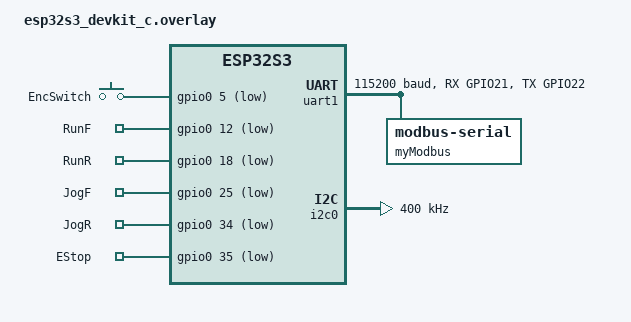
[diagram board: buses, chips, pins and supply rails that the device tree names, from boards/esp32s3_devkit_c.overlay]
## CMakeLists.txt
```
# SPDX-License-Identifier: Apache-2.0

cmake_minimum_required(VERSION 3.20.0)

message(STATUS "ZEPHYER_BASE: $ENV{ZEPHYR_BASE}")

set(CMAKE_EXPORT_COMPILE_COMMANDS ON)

find_package(Zephyr REQUIRED HINTS $ENV{ZEPHYR_BASE})
project(XP200_RTU_HID)

include_directories(${CMAKE_CURRENT_SOURCE_DIR}/src)
target_sources(app PRIVATE src/main.cpp src/shell.cpp src/ui/button.cpp src/ui/buttonbus.cpp src/ui/buttons.cpp src/machine/machine.cpp src/modbus/modbus.cpp)
```

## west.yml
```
# Example T2 west.yml, using manifest imports.
manifest:
  remotes:
    - name: zephyrproject-rtos
      url-base: https://github.com/zephyrproject-rtos
  projects:
    - name: zephyr
      remote: zephyrproject-rtos
      revision: v4.2.0
      # import: true
      import:
        name-allowlist:
          - hal_espressif
          - cmsis
          - hal_rpi_pico
          - hal_stm32
  self:
    path: local
```

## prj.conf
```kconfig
CONFIG_OUTPUT_PRINT_MEMORY_USAGE=y
CONFIG_SYS_CLOCK_HW_CYCLES_PER_SEC=1000000
CONFIG_DYNAMIC_THREAD=y
CONFIG_DYNAMIC_OBJECTS=y
CONFIG_DYNAMIC_THREAD_PREFER_POOL=y
CONFIG_DYNAMIC_THREAD_STACK_SIZE=4096
CONFIG_DYNAMIC_THREAD_POOL_SIZE=6
CONFIG_HEAP_MEM_POOL_SIZE=16384
# CONFIG_FPU=y
CONFIG_GPIO=y
CONFIG_LOG=y
CONFIG_CONSOLE=y
# CONFIG_UART_CONSOLE=y
CONFIG_REBOOT=y
# CONFIG_FPU_SHARING=y
CONFIG_FLASH=y
# CONFIG_DISPLAY=y
# CONFIG_SDL_DISPLAY_DEFAULT_PIXEL_FORMAT_MONO01=y
# CONFIG_FLASH_SHELL=y
# CONFIG_FLASH_SHELL_TEST_COMMANDS=y
# CONFIG_GPIO_SHELL=y
# CONFIG_UART_SHELL=y
# CONFIG_SHELL=y
CONFIG_CPP=y
CONFIG_STD_CPP20=y
CONFIG_REQUIRES_FULL_LIBCPP=y
CONFIG_CPP_EXCEPTIONS=y
CONFIG_CPP_RTTI=y
CONFIG_STD_C17=y
CONFIG_POSIX_API=y
# CONFIG_POSIX_C_LIB_EXT=y
# CONFIG_GETOPT_LONG=y
# CONFIG_SHELL_GETOPT=y
CONFIG_SERIAL=y
CONFIG_UART_USE_RUNTIME_CONFIGURE=y
# CONFIG_LOG_FRONTEND=y
# CONFIG_LOG_THREAD_ID_PREFIX=y
# CONFIG_LOG_INFO_COLOR_GREEN=y
# CONFIG_LOG_DBG_COLOR_BLUE=y
# CONFIG_LOG_BACKEND_UART=y
# CONFIG_LOG_CMDS=y
CONFIG_MODBUS=y
CONFIG_MODBUS_ROLE_CLIENT=y
CONFIG_MODBUS_SERIAL=y
# CONFIG_NETWORKING=y
# CONFIG_NET_L2_WIFI_SHELL=y
# CONFIG_NET_IPV4=y
# CONFIG_NET_SHELL=y
# CONFIG_NET_DHCPV4=y
# CONFIG_NET_DHCPV6=y
# CONFIG_NET_CONNECTION_MANAGER=y
CONFIG_SETTINGS=y
CONFIG_SETTINGS_SHELL=y
CONFIG_SHELL=y

CONFIG_LOG_MODE_MINIMAL=y
CONFIG_ASSERT=y
CONFIG_BOOT_BANNER=n
CONFIG_MAIN_THREAD_PRIORITY=3
CONFIG_TIMESLICE_SIZE=0
CONFIG_ZBUS=y
CONFIG_ZBUS_LOG_LEVEL_INF=y
CONFIG_ZBUS_CHANNEL_NAME=y
CONFIG_ZBUS_OBSERVER_NAME=y
CONFIG_ZBUS_MSG_SUBSCRIBER=y
CONFIG_HEAP_MEM_POOL_SIZE=4096
CONFIG_ZBUS_MSG_SUBSCRIBER_NET_BUF_POOL_SIZE=32

CONFIG_USERSPACE=y
CONFIG_SMP=y
CONFIG_USE_SWITCH=y
CONFIG_PRINTK=y

# CONFIG_NETWORKING=y
# CONFIG_NET_IPV6=y
# CONFIG_NET_IPV4=y
# CONFIG_NET_ARP=y
# CONFIG_NET_UDP=y
# CONFIG_NET_TCP=y
# CONFIG_NET_L2_VIRTUAL=y
# CONFIG_NET_DHCPV4=n
# CONFIG_NET_CONNECTION_MANAGER=y
# CONFIG_NET_IF_UNICAST_IPV6_ADDR_COUNT=3
# CONFIG_NET_IF_MCAST_IPV6_ADDR_COUNT=3
# CONFIG_NET_MAX_CONTEXTS=10
# CONFIG_NET_PKT_TX_COUNT=20
# CONFIG_NET_BUF_TX_COUNT=50

# CONFIG_TEST_RANDOM_GENERATOR=y

# CONFIG_INIT_STACKS=y

# CONFIG_NET_BUF_LOG=n
# CONFIG_NET_LOG=n
# CONFIG_QEMU_ICOUNT=y

# CONFIG_QEMU_ICOUNT_SHIFT=6

# # CONFIG_SERIAL=y
# # # CONFIG_SERIAL_SUPPORT_INTERRUPT=y
# # CONFIG_SERIAL_ESP32_USB=y

# CONFIG_NET_CONFIG_SETTINGS=y
# CONFIG_NET_CONFIG_MY_IPV6_ADDR="2001:db8::1"
# CONFIG_NET_CONFIG_MY_IPV4_ADDR="192.0.2.3"

# CONFIG_NET_SHELL=y
# CONFIG_KERNEL_SHELL=y
# CONFIG_SHELL_BACKEND_TELNET=y
# CONFIG_SHELL_TELNET_SUPPORT_COMMAND=y
# CONFIG_NET_TCP_LOG_LEVEL_DBG=y

CONFIG_ZBUS=y
CONFIG_ZBUS_MSG_SUBSCRIBER=y
CONFIG_GPIO=y

CONFIG_DEBUG=y
# CONFIG_NO_OPTIMIZATIONS=y
# CONFIG_DEBUG_OPTIMIZATIONS=y
CONFIG_ASSERT=y
CONFIG_LOG_DEFAULT_LEVEL=3
# CONFIG_HW_STACK_PROTECTION=y
CONFIG_STACK_SENTINEL=y
CONFIG_USERSPACE=n # native_sim does't have user space and it's probably useless on the esp32 for my use

CONFIG_MODBUS_LOG_LEVEL_DBG=y
# CONFIG_MODBUS_LOG_LEVEL=4
CONFIG_UART_INTERRUPT_DRIVEN=y
# CONFIG_UART_LINE_CTRL=y
```

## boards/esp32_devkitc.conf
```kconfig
CONFIG_BOOTLOADER_MCUBOOT=y
```

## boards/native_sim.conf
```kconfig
CONFIG_ARCH_POSIX_TRAP_ON_FATAL=y
CONFIG_MP_MAX_NUM_CPUS=2
CONFIG_FRAME_POINTER=y
CONFIG_ASAN=y
CONFIG_UBSAN=y
# CONFIG_MSAN=y
CONFIG_STACK_USAGE=y
CONFIG_DEBUG_INFO=y
# CONFIG_DEBUG_THREAD_INFO=y
CONFIG_NO_OPTIMIZATIONS=y
CONFIG_OUTPUT_SYMBOLS=y
CONFIG_OUTPUT_DISASSEMBLY=y
```

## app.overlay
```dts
/*
 * Copyright (c) 2020 Phytec Messtechnik GmbH
 *
 * SPDX-License-Identifier: Apache-2.0
 */

 &arduino_serial {
	status = "okay";

	modbus0 {
		compatible = "zephyr,modbus-serial";
		status = "okay";
		de-gpios = <&arduino_header 15 GPIO_ACTIVE_LOW>;	/* D9 */
	};
};
```

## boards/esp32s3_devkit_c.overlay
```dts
/ {
        // base pinctrl is include/zephyr/dt-bindings/pinctrl/esp32-pinctrl.h

    //The lilygo T_CAN pins are:
    // RS485
// #define RS485_TX 22
// #define RS485_RX 21
// #define RS485_RE_PIN 17   //MAX13487E RE pin
// #define RS485_SHUTDOWN_PIN 19 //MAX13487E shutdown pin
// // WS2812B
// #define WS2812B_DATA 4
// // CAN
// #define CAN_TX 27
// #define CAN_RX 26
// // RS485 and CAN Boost power supply
// #define BOOST_ENABLE_PIN 16
// //SD
// #define SD_MISO 2
// #define SD_MOSI 15
// #define SD_SCLK 14
// #define SD_CS 13

//Free for I2C with this config: 32, 33

        
    buttons {
        compatible = "zephyr,gpio-keys";


        // speedA: speed_A {
        //     gpios = <&gpio0 6 (GPIO_PULL_UP | GPIO_ACTIVE_LOW)>;
        //     label = "SpeedA";
        // };

        // speedB: speed_B {
        //     gpios = <&gpio0 7 (GPIO_PULL_UP | GPIO_ACTIVE_LOW)>;
        //     label = "SpeedB";
            
        // };

        encSwitch: enc_Switch {
            status = "okay";
            gpios = <&gpio0 5 (GPIO_PULL_UP | GPIO_ACTIVE_LOW)>;
            label = "EncSwitch";
            debounce-interval = <10>;
            // linux,code = <KEY_ENTER>;
            
        };

        runF: run_F {
            status = "okay";
            gpios = <&gpio0 12 (GPIO_PULL_UP | GPIO_ACTIVE_LOW)>;
            label = "RunF";
            debounce-interval = <10>;
            // linux,code = <KEY_ARROW_RIGHT>;
        };

        runR: run_R {
            status = "okay";
            gpios = <&gpio0 18 (GPIO_PULL_UP | GPIO_ACTIVE_LOW)>;
            label = "RunR";
            debounce-interval = <10>;
            // linux,code = <KEY_ARROW_LEFT>;
        };

        jogf: jogF {
            status = "okay";
            gpios = <&gpio0 25 (GPIO_PULL_UP | GPIO_ACTIVE_LOW)>;
            label = "JogF";
            debounce-interval = <10>;
            // linux,code = <KEY_UP>;
        };

        jogr: jogR {
            status = "okay";
            gpios = <&gpio0 34 (GPIO_PULL_UP | GPIO_ACTIVE_LOW)>;
            label = "JogR";
            debounce-interval = <10>;
            // linux,code = <KEY_DOWN>;
        };

        estop: eStop {
            status = "okay";
            gpios = <&gpio0 35 (GPIO_PULL_UP | GPIO_ACTIVE_LOW)>;
            label = "EStop";
            debounce-interval = <10>;
            // linux,code = <KEY_ESC>;
        };
    };

    
// &uart0 {
// 	current-speed = <115200>;
// 	status = "okay";
// 	pinctrl-0 = <&uart0_default>;
// 	pinctrl-names = "default";
// };

   

    chosen {
		zephyr,modbus-serial = &myModbus;
	};
}; 

&pinctrl {
        uart1_default: uart1_default {
            group1 {
                pinmux = <UART1_RX_GPIO21>;
                input-enable;
                bias-pull-up;
            };
            group2 {
                pinmux = <UART1_TX_GPIO22>;
            };
        };

        i2c0_default: i2c0_default {
            group1 {
                pinmux = <I2C0_SDA_GPIO32>,
                         <I2C0_SCL_GPIO33>;
                bias-pull-up;
                drive-open-drain;
                output-high;
            };
        };
    };

&uart1 {
        pinctrl-0 = <&uart1_default>;
        pinctrl-names = "default";
        current-speed = <115200>;
        status = "okay";
        myModbus: myModbus {
            compatible = "zephyr,modbus-serial";
            status = "okay";
        };
    };

&i2c0 {
        status = "okay";
        pinctrl-0 = <&i2c0_default>;
        pinctrl-names = "default";
        clock-frequency = <400000>;
    };
    
```

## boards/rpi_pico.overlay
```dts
/ {
        // base pinctrl is include/zephyr/dt-bindings/pinctrl/rpi-pico-pinctrl-common.h
    buttons {
        compatible = "zephyr,gpio-keys";


        // speedA: speed_A {
        //     gpios = <&gpio0 6 (GPIO_PULL_UP | GPIO_ACTIVE_LOW)>;
        //     label = "SpeedA";
        // };

        // speedB: speed_B {
        //     gpios = <&gpio0 7 (GPIO_PULL_UP | GPIO_ACTIVE_LOW)>;
        //     label = "SpeedB";
            
        // };

        encSwitch: enc_Switch {
            status = "okay";
            gpios = <&gpio0 15 (GPIO_PULL_UP | GPIO_ACTIVE_LOW)>;
            label = "EncSwitch";
            debounce-interval = <10>;
            // linux,code = <KEY_ENTER>;
            
        };

        runF: run_F {
            status = "okay";
            gpios = <&gpio0 8 (GPIO_PULL_UP | GPIO_ACTIVE_LOW)>;
            label = "RunF";
            debounce-interval = <10>;
            // linux,code = <KEY_ARROW_RIGHT>;
        };

        runR: run_R {
            status = "okay";
            gpios = <&gpio0 9 (GPIO_PULL_UP | GPIO_ACTIVE_LOW)>;
            label = "RunR";
            debounce-interval = <10>;
            // linux,code = <KEY_ARROW_LEFT>;
        };

        jogf: jogF {
            status = "okay";
            gpios = <&gpio0 12 (GPIO_PULL_UP | GPIO_ACTIVE_LOW)>;
            label = "JogF";
            debounce-interval = <10>;
            // linux,code = <KEY_UP>;
        };

        jogr: jogR {
            status = "okay";
            gpios = <&gpio0 11 (GPIO_PULL_UP | GPIO_ACTIVE_LOW)>;
            label = "JogR";
            debounce-interval = <10>;
            // linux,code = <KEY_DOWN>;
        };

        estop: eStop {
            status = "okay";
            gpios = <&gpio0 14 (GPIO_PULL_UP | GPIO_ACTIVE_LOW)>;
            label = "EStop";
            debounce-interval = <10>;
            // linux,code = <KEY_ESC>;
        };
    };

    
// &uart0 {
// 	current-speed = <115200>;
// 	status = "okay";
// 	pinctrl-0 = <&uart0_default>;
// 	pinctrl-names = "default";
// };

   

    chosen {
		zephyr,modbus-serial = &myModbus;
	};
}; 

&pinctrl {
        uart1_default: uart1_default {
            group1 {
                pinmux = <UART1_RX_P5>;
                input-enable;
                bias-pull-up;
            };
            group2 {
                pinmux = <UART1_TX_P4>;
            };
        };
    };

&uart1 {
        pinctrl-0 = <&uart1_default>;
        pinctrl-names = "default";
        current-speed = <115200>;
        status = "okay";
        myModbus: myModbus {
            compatible = "zephyr,modbus-serial";
            status = "okay";
        };
    };
    
```

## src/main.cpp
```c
/*
 * Copyright (c) 2016 Open-RnD Sp. z o.o.
 * Copyright (c) 2020 Nordic Semiconductor ASA
 *
 * SPDX-License-Identifier: Apache-2.0
 */

#include <inttypes.h>
#include <zephyr/device.h>

#include <zephyr/kernel.h>
#include <zephyr/modbus/modbus.h>
#include <zephyr/sys/printk.h>
#include <zephyr/sys/util.h>

#include "modbus/modbus.hpp"
#include "ui/buttons.hpp"

#include <zephyr/logging/log.h>

LOG_MODULE_REGISTER(main, LOG_LEVEL_DBG);

#define SLEEP_TIME_MS 1

// const struct device *uart0 = DEVICE_DT_GET(DT_NODELABEL(uart0));

#define MODBUS_NODE DT_CHOSEN(zephyr_modbus_serial)
#define MODBUS_UART_NODE DT_PARENT(MODBUS_NODE)
#define MODBUS_UART_SPEED DT_PROP(MODBUS_UART_NODE, current_speed)

const XP200RTU *modbusClient = nullptr;

const Buttons *buttons = nullptr;

int main(void)
{

	const char *modbusInterfaceName = DEVICE_DT_NAME(MODBUS_NODE);
	modbusClient = new XP200RTU(modbusInterfaceName, MODBUS_UART_SPEED);
	// uint16_t holding_reg[8] = {'H', 'e', 'l', 'l', 'o'};
	// const uint8_t coil_qty = 3;
	// uint8_t coil[1] = {0};
	// const int32_t sleep = 250;
	// static uint8_t node = 1;
	// int err;

	// err = modbus_write_holding_regs(client_iface, node, 0, holding_reg,
	//                                 ARRAY_SIZE(holding_reg));
	// if (err != 0)
	// {
	//     LOG_ERR("FC16 failed with %d", err);
	//     return 0;
	// }

	// err = modbus_read_holding_regs(client_iface, node, 0, holding_reg,
	//                                ARRAY_SIZE(holding_reg));
	// if (err != 0)
	// {
	//     LOG_ERR("FC03 failed with %d", err);
	//     return 0;
	// }

	// LOG_HEXDUMP_INF(holding_reg, sizeof(holding_reg),
	//                 "WR|RD holding register:");

	buttons = Buttons::GetInstance();

	while (42)
	{
		// uint16_t addr = 0;

		// err = modbus_read_coils(client_iface, node, 0, coil, coil_qty);
		// if (err != 0)
		// {
		//     LOG_ERR("FC01 failed with %d", err);
		//     return 0;
		// }

		// LOG_INF("Coils state 0x%02x", coil[0]);

		// err = modbus_write_coil(client_iface, node, addr++, true);
		// if (err != 0)
		// {
		//     LOG_ERR("FC05 failed with %d", err);
		//     return 0;
		// }

		// k_msleep(sleep);
		// err = modbus_write_coil(client_iface, node, addr++, true);
		// if (err != 0)
		// {
		//     LOG_ERR("FC05 failed with %d", err);
		//     return 0;
		// }

		// k_msleep(sleep);
		// err = modbus_write_coil(client_iface, node, addr++, true);
		// if (err != 0)
		// {
		//     LOG_ERR("FC05 failed with %d", err);
		//     return 0;
		// }

		k_msleep(500);
		// int err = modbus_read_coils(client_iface, node, 0, coil, coil_qty);
		// if (err != 0)
		// {
		//     LOG_ERR("FC01 failed with %d", err);
		//     return 0;
		// }

		// LOG_INF("Coils state 0x%02x", coil[0]);

		// coil[0] = 0;
		// err = modbus_write_coils(client_iface, node, 0, coil, coil_qty);
		// if (err != 0)
		// {
		//     LOG_ERR("FC15 failed with %d", err);
		//     return 0;
		// }

		// k_msleep(sleep);
	}
}
```

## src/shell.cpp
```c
/*
 * Copyright (c) 2015 Intel Corporation
 *
 * SPDX-License-Identifier: Apache-2.0
 */

#include <zephyr/init.h>
#include <zephyr/kernel.h>
#include <zephyr/shell/shell.h>

static int GetParamsInit(void)
{
	printk("Get and print all params from the XP200 device.\n");
	if (!CONFIG_SHELL_CMD_ROOT[0])
	{
		shell_set_root_cmd("params");
	}
	return 0;
}

static int GetCoilsInit(void)
{
	printk("Get and print all coils from the XP200 device.\n");
	if (!CONFIG_SHELL_CMD_ROOT[0])
	{
		shell_set_root_cmd("coils");
	}
	return 0;
}

static int GetAllCoilsCmd(const struct shell *sh, size_t argc, char **argv)
{
	shell_set_root_cmd("coils");
	shell_print(sh, "\n");
	return 0;
}

static int GetAllParamsCmd(const struct shell *sh, size_t argc, char **argv)
{
	shell_set_root_cmd("params");
	shell_print(sh, "\n");
	return 0;
}

SHELL_CMD_REGISTER(params, NULL, "Get all params.", GetAllParamsCmd);
SHELL_CMD_REGISTER(coils, NULL, "Get all coils.", GetAllCoilsCmd);

SYS_INIT(GetParamsInit, APPLICATION, CONFIG_APPLICATION_INIT_PRIORITY);
SYS_INIT(GetCoilsInit, APPLICATION, CONFIG_APPLICATION_INIT_PRIORITY);
```
